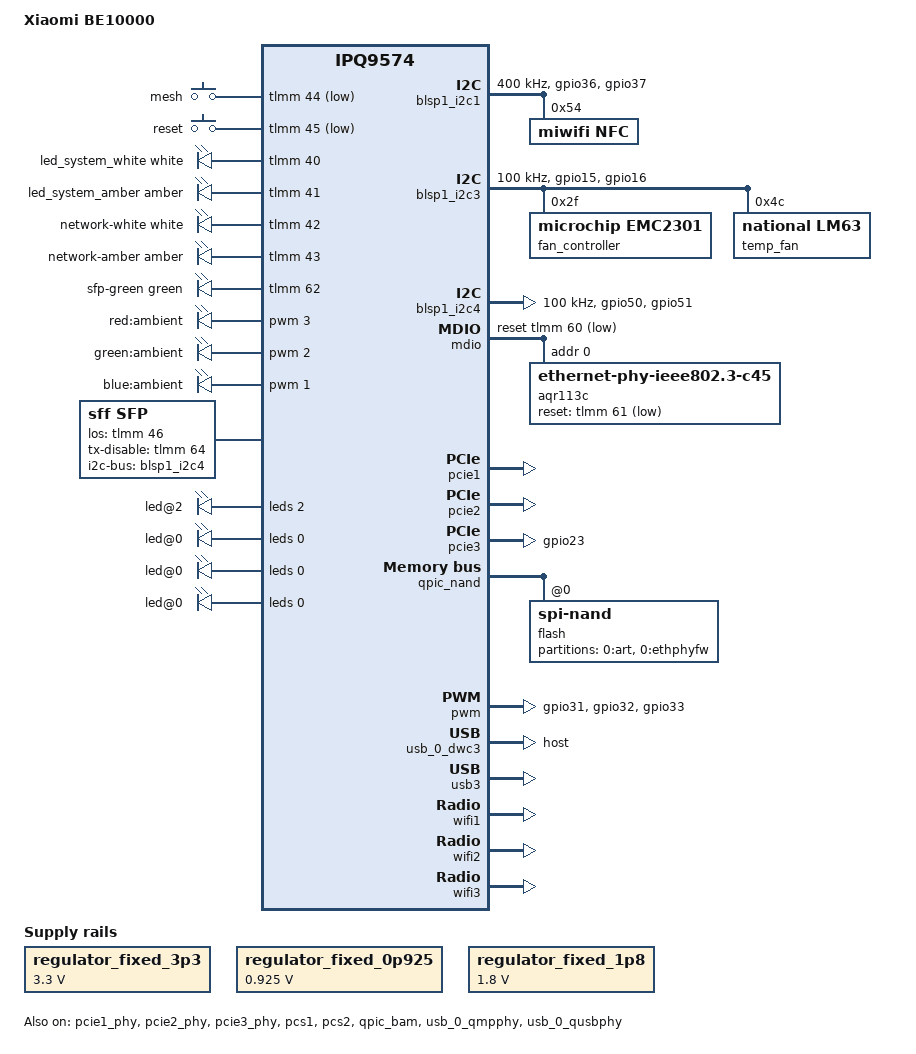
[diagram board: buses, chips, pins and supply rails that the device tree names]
// SPDX-License-Identifier: (GPL-2.0+ OR BSD-3-Clause)

/dts-v1/;

#include "ipq9574-common.dtsi"
#include "ipq9574-common-wifi-pci.dtsi"
#include "ipq9574-common-qca8084.dtsi"

/ {
	model = "Xiaomi BE10000";
	compatible = "xiaomi,be10000", "qcom,ipq9574";

	aliases {
		label-mac-device = &ppe_port5;
		led-boot = &led_system_amber;
		led-failsafe = &led_system_amber;
		led-running = &led_system_white;
		led-upgrade = &led_system_white;
	};

	chosen {
		bootargs-append = " root=/dev/ubiblock0_1 cma=320M";
	};

	regulator_fixed_3p3: regulator-3p3 {
		compatible = "regulator-fixed";
		regulator-name = "fixed_3p3";
		regulator-min-microvolt = <3300000>;
		regulator-max-microvolt = <3300000>;
		regulator-boot-on;
		regulator-always-on;
	};

	regulator_fixed_0p925: regulator-0p925 {
		compatible = "regulator-fixed";
		regulator-name = "fixed_0p925";
		regulator-min-microvolt = <925000>;
		regulator-max-microvolt = <925000>;
		regulator-boot-on;
		regulator-always-on;
	};

	regulator_fixed_1p8: regulator-1p8 {
		compatible = "regulator-fixed";
		regulator-name = "fixed_1p8";
		regulator-min-microvolt = <1800000>;
		regulator-max-microvolt = <1800000>;
		regulator-boot-on;
		regulator-always-on;
	};

	gpio-keys {
		compatible = "gpio-keys";
		pinctrl-0 = <&gpio_keys_default>;
		pinctrl-names = "default";

		mesh {
			label = "mesh";
			linux,code = <BTN_9>;
			gpios = <&tlmm 44 GPIO_ACTIVE_LOW>;
			debounce-interval = <60>;
		};

		reset {
			label = "reset";
			linux,code = <KEY_RESTART>;
			gpios = <&tlmm 45 GPIO_ACTIVE_LOW>;
			debounce-interval = <60>;
		};
	};

	leds {
		compatible = "gpio-leds";
		pinctrl-0 = <&gpio_leds_default>;
		pinctrl-names = "default";

		led_system_white: system-white {
			function = LED_FUNCTION_STATUS;
			color = <LED_COLOR_ID_WHITE>;
			gpios = <&tlmm 40 GPIO_ACTIVE_HIGH>;
			default-state = "off";
		};

		led_system_amber: system-amber {
			function = LED_FUNCTION_STATUS;
			color = <LED_COLOR_ID_AMBER>;
			gpios = <&tlmm 41 GPIO_ACTIVE_HIGH>;
			default-state = "off";
		};

		network-white {
			function = "network";
			color = <LED_COLOR_ID_WHITE>;
			gpios = <&tlmm 42 GPIO_ACTIVE_HIGH>;
			default-state = "off";
		};

		network-amber {
			function = "network";
			color = <LED_COLOR_ID_AMBER>;
			gpios = <&tlmm 43 GPIO_ACTIVE_HIGH>;
			default-state = "off";
		};

		sfp-green {
			function = "sfp";
			color = <LED_COLOR_ID_GREEN>;
			gpios = <&tlmm 62 GPIO_ACTIVE_HIGH>;
			default-state = "off";
		};
	};

	/* Top RGB light bar: stock "pwm-rgb" on PWM 1/2/3, gpio31/32/33, 51000 ns */
	leds_rgb: leds-rgb {
		compatible = "pwm-leds";

		led_bar_red: bar-red {
			label = "red:ambient";
			pwms = <&pwm 3 51000 0>;
			max-brightness = <255>;
			default-state = "keep";
		};
		led_bar_green: bar-green {
			label = "green:ambient";
			pwms = <&pwm 2 51000 0>;
			max-brightness = <255>;
			default-state = "keep";
		};
		led_bar_blue: bar-blue {
			label = "blue:ambient";
			pwms = <&pwm 1 51000 0>;
			max-brightness = <255>;
			default-state = "keep";
		};
	};

	sfp: sfp {
		compatible = "sff,sfp";
		pinctrl-0 = <&sfp_default>;
		pinctrl-names = "default";
		i2c-bus = <&blsp1_i2c4>;
		los-gpios = <&tlmm 46 GPIO_ACTIVE_HIGH>;
		tx-disable-gpios = <&tlmm 64 GPIO_ACTIVE_HIGH>;
	};
};

&blsp1_i2c1 {
	pinctrl-0 = <&i2c1_default>;
	pinctrl-names = "default";
	clock-frequency = <400000>;
	status = "okay";

	nfc@54 {
		compatible = "miwifi,nfc";
		reg = <0x54>;
	};
};

/* Stock probes several alternative fan controllers on this bus. */
&blsp1_i2c3 {
	pinctrl-0 = <&i2c3_default>;
	pinctrl-names = "default";
	clock-frequency = <100000>;
	status = "okay";
	fan_controller: fan-controller@2f {
		compatible = "microchip,emc2301", "microchip,emc2305";
		reg = <0x2f>;
		#address-cells = <1>;
		#size-cells = <0>;
		#pwm-cells = <3>;
		fan@0 {
			reg = <0>;
			pwms = <&fan_controller 26000 0 1>;
			#cooling-cells = <2>;
		};
	};

	temp_fan: temperature-sensor@4c {
		compatible = "national,lm63";
		reg = <0x4c>;
	};
};

&blsp1_i2c4 {
	pinctrl-0 = <&i2c4_default>;
	pinctrl-names = "default";
	clock-frequency = <100000>;
	status = "okay";
};

&mdio {
	pinctrl-0 = <&mdio_pins>;
	pinctrl-names = "default";
	reset-gpios = <&tlmm 60 GPIO_ACTIVE_LOW>;
	clock-frequency = <6250000>;
	status = "okay";

	aqr113c: ethernet-phy@0 {
		compatible = "ethernet-phy-ieee802.3-c45";
		reg = <0>;
		reset-gpios = <&tlmm 61 GPIO_ACTIVE_LOW>;
		reset-assert-us = <100000>;
		reset-deassert-us = <100000>;
		nvmem-cells = <&aqr_fw>;
		nvmem-cell-names = "firmware";
	};
};

&pcie1 {
	perst-gpios = <&tlmm 26 GPIO_ACTIVE_LOW>;
	status = "okay";
};

&pcie1_phy {
	status = "okay";
};

&pcie2 {
	perst-gpios = <&tlmm 29 GPIO_ACTIVE_LOW>;
	status = "okay";
};

&pcie2_phy {
	status = "okay";
};

/* RC01 routes this controller's PERST to GPIO23, rather than GPIO32. */
&pcie3 {
	pinctrl-0 = <&pcie3_reset_default>;
	pinctrl-names = "default";
	perst-gpios = <&tlmm 23 GPIO_ACTIVE_LOW>;
	status = "okay";
};

&pcie3_phy {
	status = "okay";
};

&pcs1 {
	status = "okay";
};

&pcs2 {
	status = "okay";
};

&ppe_port1 {
	label = "lan1";
	nvmem-cells = <&macaddr_art_6 0>;
	nvmem-cell-names = "mac-address";
};

&ppe_port2 {
	label = "lan2";
	nvmem-cells = <&macaddr_art_6 0>;
	nvmem-cell-names = "mac-address";
};

&ppe_port3 {
	label = "lan3";
	nvmem-cells = <&macaddr_art_6 0>;
	nvmem-cell-names = "mac-address";
};

&ppe_port4 {
	label = "lan4";
	nvmem-cells = <&macaddr_art_6 0>;
	nvmem-cell-names = "mac-address";
};

&qcom_ppe {
	ethernet-ports {
		ppe_port5: port@5 {
			reg = <5>;
			label = "wan";
			phy-mode = "usxgmii";
			phy-handle = <&aqr113c>;
			pcs-handle = <&pcs1_ch0>;
			managed = "in-band-status";
			nvmem-cells = <&macaddr_art_0 0>;
			nvmem-cell-names = "mac-address";
			clocks = <&nsscc NSS_CC_PORT5_MAC_CLK>,
				 <&nsscc NSS_CC_PORT5_RX_CLK>,
				 <&nsscc NSS_CC_PORT5_TX_CLK>;
			clock-names = "mac", "rx", "tx";
			resets = <&nsscc PORT5_MAC_ARES>,
				 <&nsscc PORT5_RX_ARES>,
				 <&nsscc PORT5_TX_ARES>;
			reset-names = "mac", "rx", "tx";
		};

		port@6 {
			reg = <6>;
			label = "sfp";
			phy-mode = "10gbase-r";
			pcs-handle = <&pcs2_ch0>;
			managed = "in-band-status";
			sfp = <&sfp>;
			nvmem-cells = <&macaddr_art_6 0>;
			nvmem-cell-names = "mac-address";
			clocks = <&nsscc NSS_CC_PORT6_MAC_CLK>,
				 <&nsscc NSS_CC_PORT6_RX_CLK>,
				 <&nsscc NSS_CC_PORT6_TX_CLK>;
			clock-names = "mac", "rx", "tx";
			resets = <&nsscc PORT6_MAC_ARES>,
				 <&nsscc PORT6_RX_ARES>,
				 <&nsscc PORT6_TX_ARES>;
			reset-names = "mac", "rx", "tx";
		};
	};
};

&qca8084_phy1 {
	leds {
		#address-cells = <1>;
		#size-cells = <0>;

		led@2 {
			reg = <2>;
			color = <LED_COLOR_ID_GREEN>;
			function = LED_FUNCTION_LAN;
			function-enumerator = <1>;
			active-high;
		};
	};
};

&qca8084_phy2 {
	leds {
		#address-cells = <1>;
		#size-cells = <0>;

		led@0 {
			reg = <0>;
			color = <LED_COLOR_ID_GREEN>;
			function = LED_FUNCTION_LAN;
			function-enumerator = <2>;
			active-high;
		};
	};
};

&qca8084_phy3 {
	leds {
		#address-cells = <1>;
		#size-cells = <0>;

		led@0 {
			reg = <0>;
			color = <LED_COLOR_ID_GREEN>;
			function = LED_FUNCTION_LAN;
			function-enumerator = <3>;
			active-high;
		};
	};
};

&qca8084_phy4 {
	leds {
		#address-cells = <1>;
		#size-cells = <0>;

		led@0 {
			reg = <0>;
			color = <LED_COLOR_ID_GREEN>;
			function = LED_FUNCTION_LAN;
			function-enumerator = <4>;
			active-high;
		};
	};
};

&qpic_bam {
	status = "okay";
};

&qpic_nand {
	pinctrl-0 = <&qpic_snand_default_state>;
	pinctrl-names = "default";
	status = "okay";

	flash@0 {
		compatible = "spi-nand";
		reg = <0>;
		nand-ecc-strength = <8>;
		nand-ecc-step-size = <512>;
		nand-bus-width = <8>;
		nand-ecc-engine = <&qpic_nand>;

		partitions {
			compatible = "qcom,smem-part";

			partition-0-art {
				label = "0:art";
				read-only;

				nvmem-layout {
					compatible = "fixed-layout";
					#address-cells = <1>;
					#size-cells = <1>;

					macaddr_art_0: macaddr@0 {
						compatible = "mac-base";
						reg = <0x0 0x6>;
						#nvmem-cell-cells = <1>;
					};

					macaddr_art_6: macaddr@6 {
						compatible = "mac-base";
						reg = <0x6 0x6>;
						#nvmem-cell-cells = <1>;
					};

					caldata_art_1000: calibration@1000 {
						reg = <0x1000 0x20000>;
					};
				};
			};

			partition-0-ethphyfw {
				label = "0:ethphyfw";
				read-only;

				nvmem-layout {
					compatible = "fixed-layout";
					#address-cells = <1>;
					#size-cells = <1>;

					/* Skip the 40-byte MBN header, retain the AQR CRC. */
					aqr_fw: firmware@28 {
						reg = <0x28 0x60002>;
					};
				};
			};
		};
	};
};

&pwm {
	pinctrl-0 = <&pwm_pins>;
	pinctrl-names = "default";
	status = "okay";
};

&tlmm {
	pwm_pins: pwm-state {
		pins = "gpio31", "gpio32", "gpio33";
		function = "pwm";
		drive-strength = <8>;
		bias-disable;
	};
	gpio_keys_default: gpio-keys-state {
		pins = "gpio44", "gpio45";
		function = "gpio";
		drive-strength = <8>;
		bias-pull-up;
	};

	gpio_leds_default: gpio-leds-state {
		pins = "gpio40", "gpio41", "gpio42", "gpio43", "gpio62";
		function = "gpio";
		drive-strength = <8>;
		bias-pull-down;
	};

	i2c1_default: i2c1-state {
		pins = "gpio36", "gpio37";
		function = "blsp1_i2c";
		drive-strength = <8>;
		bias-disable;
	};

	i2c3_default: i2c3-state {
		pins = "gpio15", "gpio16";
		function = "blsp3_i2c";
		drive-strength = <8>;
		bias-disable;
	};

	i2c4_default: i2c4-state {
		pins = "gpio50", "gpio51";
		function = "blsp4_i2c";
		drive-strength = <8>;
		bias-disable;
	};

	pcie3_reset_default: pcie3-reset-state {
		pins = "gpio23";
		function = "gpio";
		drive-strength = <8>;
		bias-pull-down;
		output-low;
	};

	sfp_default: sfp-state {
		pins = "gpio46", "gpio64";
		function = "gpio";
		drive-strength = <8>;
		bias-disable;
	};
};

&usb_0_dwc3 {
	dr_mode = "host";
};

&usb_0_qmpphy {
	vdda-pll-supply = <&regulator_fixed_1p8>;
	vdda-phy-supply = <&regulator_fixed_0p925>;
	status = "okay";
};

&usb_0_qusbphy {
	vdd-supply = <&regulator_fixed_0p925>;
	vdda-pll-supply = <&regulator_fixed_1p8>;
	vdda-phy-dpdm-supply = <&regulator_fixed_3p3>;
	status = "okay";
};

&usb3 {
	status = "okay";
};

&wifi1 {
	qcom,board-id = <1>;
	qcom,force-unique-qrtr-id;
	qcom,calibration-variant = "Xiaomi-BE10000";

	nvmem-cells = <&macaddr_art_6 2>;
	nvmem-cell-names = "mac-address";
};

&wifi2 {
	qcom,board-id = <4>;
	qcom,force-unique-qrtr-id;
	qcom,calibration-variant = "Xiaomi-BE10000";

	nvmem-cells = <&macaddr_art_6 3>;
	nvmem-cell-names = "mac-address";
};

&wifi3 {
	qcom,board-id = <2>;
	qcom,force-unique-qrtr-id;
	qcom,calibration-variant = "Xiaomi-BE10000";

	nvmem-cells = <&macaddr_art_6 4>;
	nvmem-cell-names = "mac-address";
};
